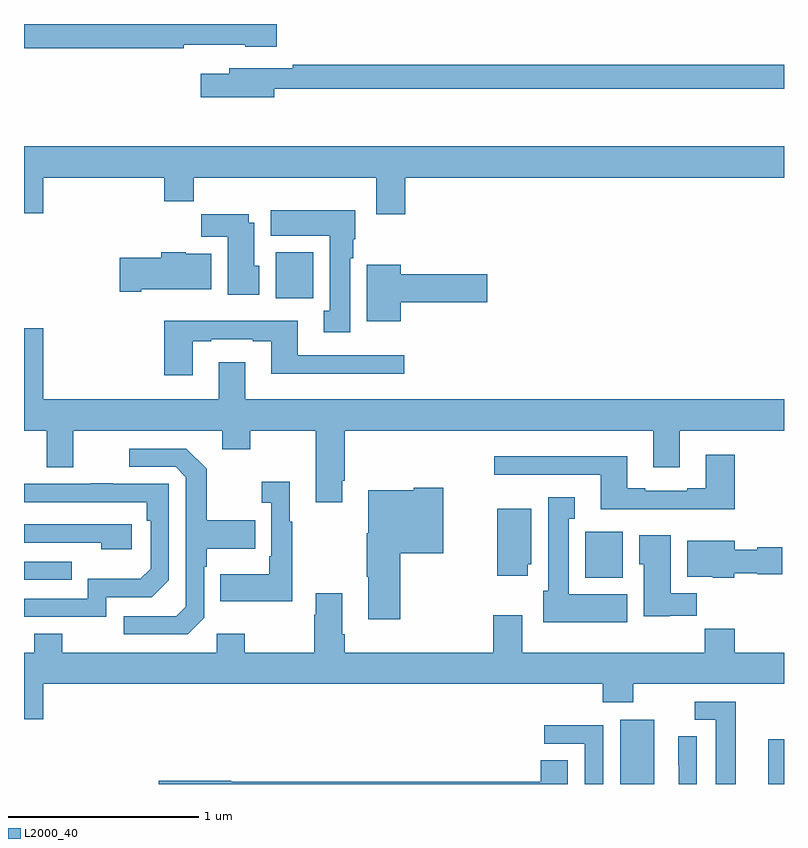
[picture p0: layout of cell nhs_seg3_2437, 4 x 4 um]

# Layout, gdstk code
import gdstk
lib = gdstk.Library(unit=1e-6, precision=1e-09)
def R(c, l, rs):  # rectangles x0, y0, x1, y1
    for r in rs: c.add(gdstk.rectangle(r[:2], r[2:], *l))
def P(c, l, *ps):  # polygons
    for p in ps: c.add(gdstk.Polygon(p, *l))
L2000_40 = (2000, 40)

nhs_seg3_2437 = lib.new_cell('nhs_seg3_2437')
R(nhs_seg3_2437, L2000_40, [(240.137,688.4,240.316,688.738), (240.917,688.4,241,688.635), (237,689.475,237.251,689.571), (239.954,689.486,240.151,689.728), (238.325,690.956,238.522,691.198)])
P(nhs_seg3_2437, L2000_40, [(237.842,692.292),(238.164,692.292),(238.164,692.279),(238.331,692.279),(238.331,692.4),(237,692.4),(237,692.272),(237.842,692.272)],
  [(238.318,692.058),(241,692.058),(241,692.186),(238.414,692.186),(238.414,692.166),(238.079,692.166),(238.079,692.137),(237.93,692.137),(237.93,692.015),(238.318,692.015)],
  [(239.006,691.592),(241,691.592),(241,691.756),(237,691.756),(237,691.404),(237.1,691.404),(237.1,691.592),(237.737,691.592),(237.737,691.468),(237.893,691.468),(237.893,691.592),(238.853,691.592),(238.853,691.398),(239.006,691.398)],
  [(238.717,691.166),(238.732,691.166),(238.732,691.266),(238.744,691.266),(238.744,691.42),(238.298,691.42),(238.298,691.286),(238.61,691.286),(238.61,690.89),(238.577,690.89),(238.577,690.777),(238.717,690.777)],
  [(238.237,691.128),(238.213,691.128),(238.213,691.354),(238.183,691.354),(238.183,691.399),(237.934,691.399),(237.934,691.28),(238.073,691.28),(238.073,690.974),(238.237,690.974)],
  [(237.616,691.004),(237.985,691.004),(237.985,691.192),(237.852,691.192),(237.852,691.198),(237.722,691.198),(237.722,691.17),(237.504,691.17),(237.504,690.992),(237.616,690.992)],
  [(238.984,690.935),(239.437,690.935),(239.437,691.082),(238.984,691.082),(238.984,691.132),(238.805,691.132),(238.805,690.836),(238.984,690.836)],
  [(237.889,690.729),(237.985,690.729),(237.985,690.741),(238.205,690.741),(238.205,690.729),(238.301,690.729),(238.301,690.56),(239.002,690.56),(239.002,690.657),(238.441,690.657),(238.441,690.838),(237.737,690.838),(237.737,690.552),(237.889,690.552)],
  [(238.675,689.995),(238.688,689.995),(238.688,690.26),(240.311,690.26),(240.311,690.066),(240.451,690.066),(240.451,690.26),(241,690.26),(241,690.424),(238.165,690.424),(238.165,690.619),(238.025,690.619),(238.025,690.424),(237.1,690.424),(237.1,690.799),(237,690.799),(237,690.26),(237.119,690.26),(237.119,690.066),(237.259,690.066),(237.259,690.26),(238.043,690.26),(238.043,690.161),(238.191,690.161),(238.191,690.26),(238.535,690.26),(238.535,689.883),(238.675,689.883)],
  [(237.948,689.274),(237.948,689.543),(237.961,689.543),(237.961,689.639),(238.217,689.639),(238.217,689.787),(237.961,689.787),(237.961,690.059),(237.855,690.165),(237.555,690.165),(237.555,690.069),(237.798,690.069),(237.852,690.015),(237.852,689.334),(237.801,689.283),(237.525,689.283),(237.525,689.187),(237.861,689.187)],
  [(240.74,690.133),(240.587,690.133),(240.587,689.956),(240.491,689.956),(240.491,689.943),(240.271,689.943),(240.271,689.956),(240.175,689.956),(240.175,690.124),(239.475,690.124),(239.475,690.027),(240.035,690.027),(240.035,689.846),(240.74,689.846)],
  [(238.411,689.779),(238.399,689.779),(238.399,689.992),(238.251,689.992),(238.251,689.879),(238.302,689.879),(238.302,689.599),(238.29,689.599),(238.29,689.503),(238.033,689.503),(238.033,689.363),(238.411,689.363)],
  [(237.432,689.382),(237.672,689.382),(237.762,689.472),(237.762,689.979),(237.467,689.979),(237.467,689.984),(237.355,689.984),(237.355,689.979),(237,689.979),(237,689.883),(237.646,689.883),(237.646,689.786),(237.666,689.786),(237.666,689.532),(237.613,689.479),(237.336,689.479),(237.336,689.376),(237,689.376),(237,689.28),(237.432,689.28)],
  [(238.979,689.615),(239.206,689.615),(239.206,689.959),(239.052,689.959),(239.052,689.947),(238.811,689.947),(238.811,689.719),(238.804,689.719),(238.804,689.491),(238.811,689.491),(238.811,689.268),(238.979,689.268)],
  [(240.175,689.398),(239.866,689.398),(239.866,689.795),(239.899,689.795),(239.899,689.908),(239.759,689.908),(239.759,689.418),(239.732,689.418),(239.732,689.252),(240.175,689.252)],
  [(239.65,689.556),(239.671,689.556),(239.671,689.848),(239.492,689.848),(239.492,689.496),(239.65,689.496)],
  [(237.568,689.766),(237,689.766),(237,689.67),(237.407,689.67),(237.407,689.636),(237.568,689.636)],
  [(240.399,689.286),(240.542,689.286),(240.542,689.404),(240.403,689.404),(240.403,689.71),(240.239,689.71),(240.239,689.556),(240.263,689.556),(240.263,689.282),(240.399,689.282)],
  [(240.738,689.51),(240.858,689.51),(240.858,689.503),(240.991,689.503),(240.991,689.645),(240.858,689.645),(240.858,689.632),(240.742,689.632),(240.742,689.68),(240.491,689.68),(240.491,689.492),(240.624,689.492),(240.624,689.486),(240.738,689.486)],
  [(237.1,688.928),(240.047,688.928),(240.047,688.829),(240.207,688.829),(240.207,688.928),(241,688.928),(241,689.092),(240.74,689.092),(240.74,689.216),(240.583,689.216),(240.583,689.092),(239.623,689.092),(239.623,689.287),(239.471,689.287),(239.471,689.092),(238.688,689.092),(238.688,689.188),(238.675,689.188),(238.675,689.404),(238.535,689.404),(238.535,689.291),(238.528,689.291),(238.528,689.092),(238.161,689.092),(238.161,689.191),(238.014,689.191),(238.014,689.092),(237.201,689.092),(237.201,689.191),(237.053,689.191),(237.053,689.092),(237,689.092),(237,688.74),(237.1,688.74)],
  [(240.745,688.833),(240.531,688.833),(240.531,688.737),(240.641,688.737),(240.641,688.4),(240.745,688.4)],
  [(240.048,688.71),(239.739,688.71),(239.739,688.611),(239.952,688.611),(239.952,688.4),(240.048,688.4)],
  [(240.54,688.652),(240.444,688.652),(240.444,688.498),(240.446,688.498),(240.446,688.4),(240.54,688.4)],
  [(239.863,688.526),(239.72,688.526),(239.72,688.412),(238.092,688.412),(238.092,688.418),(237.708,688.418),(237.708,688.4),(239.863,688.4)])

lib.write_gds('nhs_seg3_2437.gds')
